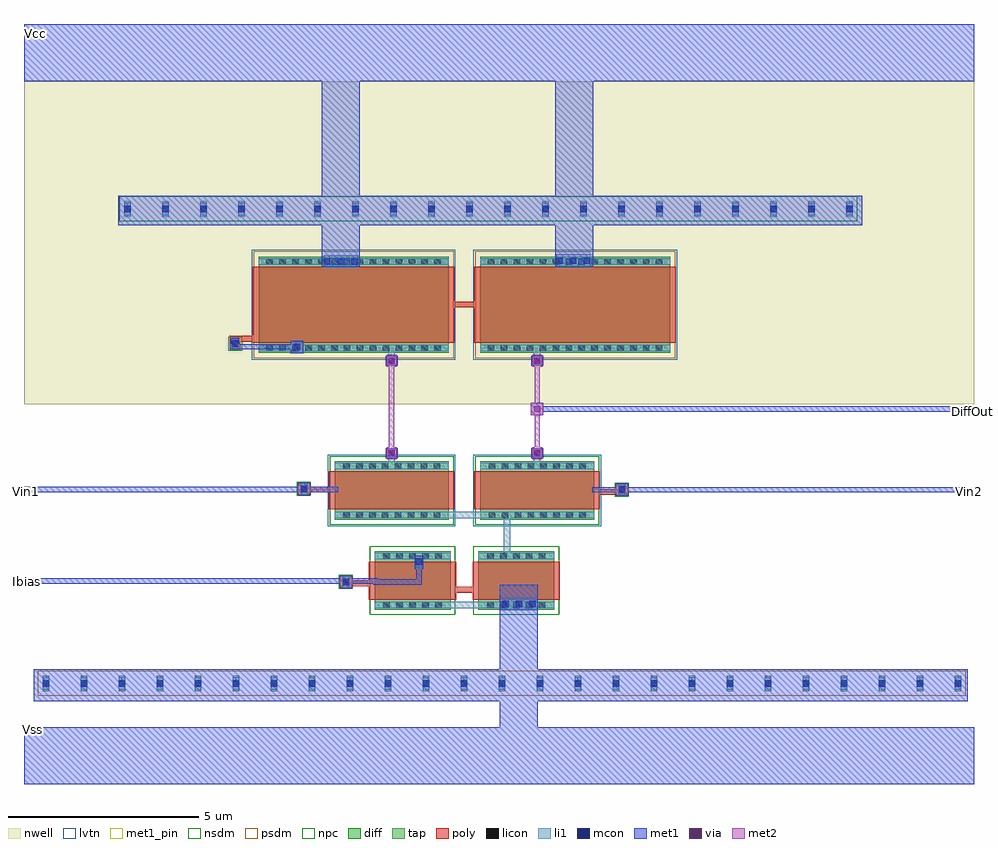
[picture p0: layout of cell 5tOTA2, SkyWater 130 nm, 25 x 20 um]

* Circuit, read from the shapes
.subckt 5tOTA2 DiffOut Ibias Vcc Vin1 Vin2 Vss
XM1 n1 Vin1 n2 Vss sky130_fd_pr__nfet_01v8_lvt w=3 l=1
XM2 Ibias Ibias Vss Vss sky130_fd_pr__nfet_01v8 w=2 l=1
XM3 n2 Ibias Vss Vss sky130_fd_pr__nfet_01v8 w=2 l=1
XM4 DiffOut Vin2 n2 Vss sky130_fd_pr__nfet_01v8_lvt w=3 l=1
XM5 Vcc n1 n1 Vcc sky130_fd_pr__pfet_01v8_lvt w=5 l=2
XM6 Vcc n1 DiffOut Vcc sky130_fd_pr__pfet_01v8_lvt w=5 l=2
.ends

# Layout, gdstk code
from math import pi, radians
import gdstk
lib = gdstk.Library(unit=1e-6, precision=1e-09)
def R(c, l, rs):  # rectangles x0, y0, x1, y1
    for r in rs: c.add(gdstk.rectangle(r[:2], r[2:], *l))
def A(c, l, x, y, w, h, nx, ny, dx, dy):  # array of equal rectangles
    R(c, l, [(x+i*dx, y+j*dy, x+i*dx+w, y+j*dy+h) for i in range(nx) for j in range(ny)])
nwell = (64, 20)
diff = (65, 20)
tap = (65, 44)
poly = (66, 20)
licon = (66, 44)
li1 = (67, 20)
mcon = (67, 44)
met1_pin = (68, 16)
met1 = (68, 20)
via = (68, 44)
met2 = (69, 20)
nsdm = (93, 44)
psdm = (94, 20)
npc = (95, 20)
lvtn = (125, 44)

pfet_01v8_lvt_cdns_77827 = lib.new_cell('pfet_01v8_lvt_CDNS_778274128802')
R(pfet_01v8_lvt_cdns_77827, nwell, [(-0.445,-0.18,2.445,5.18)])
R(pfet_01v8_lvt_cdns_77827, diff, [(-0.265,0,0,5), (0,0,2,5), (2,0,2.265,5)])
R(pfet_01v8_lvt_cdns_77827, poly, [(0,-0.15,2,-0.095), (0,-0.095,2,0), (0,0,2,5), (0,5,2,5.095), (0,5.095,2,5.15)])
A(pfet_01v8_lvt_cdns_77827, licon, -0.225, 0.205, 0.17, 0.17, 1, 14, 0, 0.34)
A(pfet_01v8_lvt_cdns_77827, licon, 2.055, 0.205, 0.17, 0.17, 1, 14, 0, 0.34)
R(pfet_01v8_lvt_cdns_77827, li1, [(-0.225,0,-0.055,5), (2.055,0,2.225,5)])
R(pfet_01v8_lvt_cdns_77827, psdm, [(-0.405,-0.13,2.405,5.13)])
R(pfet_01v8_lvt_cdns_77827, lvtn, [(-0.445,-0.18,2.445,5.18)])

nfet_01v8_lvt_cdns_77827 = lib.new_cell('nfet_01v8_lvt_CDNS_778274128803')
R(nfet_01v8_lvt_cdns_77827, diff, [(-0.265,0,0,3), (0,0,1,3), (1,0,1.265,3)])
R(nfet_01v8_lvt_cdns_77827, poly, [(0,-0.15,1,-0.095), (0,-0.095,1,0), (0,0,1,3), (0,3,1,3.095), (0,3.095,1,3.15)])
A(nfet_01v8_lvt_cdns_77827, licon, -0.225, 0.225, 0.17, 0.17, 1, 8, 0, 0.34)
A(nfet_01v8_lvt_cdns_77827, licon, 1.055, 0.225, 0.17, 0.17, 1, 8, 0, 0.34)
R(nfet_01v8_lvt_cdns_77827, li1, [(-0.225,0,-0.055,3), (1.055,0,1.225,3)])
R(nfet_01v8_lvt_cdns_77827, nsdm, [(-0.405,-0.13,1.405,3.13)])
R(nfet_01v8_lvt_cdns_77827, lvtn, [(-0.445,-0.18,1.445,3.18)])

nfet_01v8_cdns_778274128 = lib.new_cell('nfet_01v8_CDNS_778274128804')
R(nfet_01v8_cdns_778274128, diff, [(-0.265,0,0,2), (0,0,1,2), (1,0,1.265,2)])
R(nfet_01v8_cdns_778274128, poly, [(0,-0.15,1,-0.095), (0,-0.095,1,0), (0,0,1,2), (0,2,1,2.095), (0,2.095,1,2.15)])
A(nfet_01v8_cdns_778274128, licon, -0.225, 0.235, 0.17, 0.17, 1, 5, 0, 0.34)
A(nfet_01v8_cdns_778274128, licon, 1.055, 0.235, 0.17, 0.17, 1, 5, 0, 0.34)
R(nfet_01v8_cdns_778274128, li1, [(-0.225,0,-0.055,2), (1.055,0,1.225,2)])
R(nfet_01v8_cdns_778274128, nsdm, [(-0.405,-0.13,1.405,2.13)])

subtap_cdns_778274128805 = lib.new_cell('subTap_CDNS_778274128805')
R(subtap_cdns_778274128805, tap, [(-0.085,-0.205,0.085,0.205)])
R(subtap_cdns_778274128805, licon, [(-0.085,-0.085,0.085,0.085)])
R(subtap_cdns_778274128805, li1, [(-0.085,-0.165,0.085,0.165)])
R(subtap_cdns_778274128805, mcon, [(-0.085,-0.085,0.085,0.085)])
R(subtap_cdns_778274128805, met1, [(-0.115,-0.145,0.115,0.145)])
R(subtap_cdns_778274128805, psdm, [(-0.21,-0.33,0.21,0.33)])

nwelltap_cdns_7782741288 = lib.new_cell('nwellTap_CDNS_778274128806')
R(nwelltap_cdns_7782741288, nwell, [(-0.265,-0.385,0.265,0.385)])
R(nwelltap_cdns_7782741288, tap, [(-0.085,-0.205,0.085,0.205)])
R(nwelltap_cdns_7782741288, licon, [(-0.085,-0.085,0.085,0.085)])
R(nwelltap_cdns_7782741288, li1, [(-0.085,-0.165,0.085,0.165)])
R(nwelltap_cdns_7782741288, mcon, [(-0.085,-0.085,0.085,0.085)])
R(nwelltap_cdns_7782741288, met1, [(-0.115,-0.145,0.115,0.145)])
R(nwelltap_cdns_7782741288, nsdm, [(-0.21,-0.33,0.21,0.33)])

l1m1_c_cdns_778274128809 = lib.new_cell('L1M1_C_CDNS_778274128809')
R(l1m1_c_cdns_778274128809, li1, [(-0.085,-0.085,0.085,0.085)])
R(l1m1_c_cdns_778274128809, mcon, [(-0.085,-0.085,0.085,0.085)])
R(l1m1_c_cdns_778274128809, met1, [(-0.145,-0.115,0.145,0.115)])

m1m2_c_cdns_778274128801 = lib.new_cell('M1M2_C_CDNS_7782741288010')
R(m1m2_c_cdns_778274128801, met1, [(-0.16,-0.13,0.16,0.13)])
R(m1m2_c_cdns_778274128801, via, [(-0.075,-0.075,0.075,0.075)])
R(m1m2_c_cdns_778274128801, met2, [(-0.13,-0.16,0.13,0.16)])

l1m1_c_cdns_778274128801 = lib.new_cell('L1M1_C_CDNS_7782741288011')
R(l1m1_c_cdns_778274128801, li1, [(-0.5,-0.165,0.5,0.165)])
A(l1m1_c_cdns_778274128801, mcon, -0.445, -0.085, 0.17, 0.17, 3, 1, 0.36, 0)
R(l1m1_c_cdns_778274128801, met1, [(-0.5,-0.165,0.5,0.165)])

c_l1m1_c_cdns_778274128801 = lib.new_cell('L1M1_C_CDNS_7782741288012')
R(c_l1m1_c_cdns_778274128801, li1, [(-0.445,-0.165,0.445,0.165)])
A(c_l1m1_c_cdns_778274128801, mcon, -0.445, -0.085, 0.17, 0.17, 3, 1, 0.36, 0)
R(c_l1m1_c_cdns_778274128801, met1, [(-0.475,-0.145,0.475,0.145)])

c_l1m1_c_cdns_778274128801_ = lib.new_cell('L1M1_C_CDNS_7782741288013')
R(c_l1m1_c_cdns_778274128801_, li1, [(-0.165,-0.165,0.165,0.165)])
R(c_l1m1_c_cdns_778274128801_, mcon, [(-0.085,-0.085,0.085,0.085)])
R(c_l1m1_c_cdns_778274128801_, met1, [(-0.165,-0.165,0.165,0.165)])

polyconn_cdns_7782741288 = lib.new_cell('polyConn_CDNS_778274128800')
R(polyconn_cdns_7782741288, poly, [(-0.165,-0.165,0.165,0.165)])
R(polyconn_cdns_7782741288, licon, [(-0.085,-0.085,0.085,0.085)])
R(polyconn_cdns_7782741288, li1, [(-0.085,-0.165,0.085,0.165)])
R(polyconn_cdns_7782741288, mcon, [(-0.085,-0.085,0.085,0.085)])
R(polyconn_cdns_7782741288, met1, [(-0.165,-0.165,0.165,0.165)])
R(polyconn_cdns_7782741288, npc, [(-0.185,-0.185,0.185,0.185)])

c_m1m2_c_cdns_778274128801 = lib.new_cell('M1M2_C_CDNS_7782741288014')
R(c_m1m2_c_cdns_778274128801, met1, [(-0.165,-0.165,0.165,0.165)])
R(c_m1m2_c_cdns_778274128801, via, [(-0.075,-0.075,0.075,0.075)])
R(c_m1m2_c_cdns_778274128801, met2, [(-0.165,-0.165,0.165,0.165)])

c_l1m1_c_cdns_778274128801__ = lib.new_cell('L1M1_C_CDNS_7782741288015')
R(c_l1m1_c_cdns_778274128801__, li1, [(-0.085,-0.165,0.085,0.165)])
R(c_l1m1_c_cdns_778274128801__, mcon, [(-0.085,-0.085,0.085,0.085)])
R(c_l1m1_c_cdns_778274128801__, met1, [(-0.115,-0.145,0.115,0.145)])

c_polyconn_cdns_7782741288 = lib.new_cell('polyConn_CDNS_778274128801')
R(c_polyconn_cdns_7782741288, poly, [(-0.135,-0.165,0.135,0.165)])
R(c_polyconn_cdns_7782741288, licon, [(-0.085,-0.085,0.085,0.085)])
R(c_polyconn_cdns_7782741288, li1, [(-0.085,-0.165,0.085,0.165)])
R(c_polyconn_cdns_7782741288, mcon, [(-0.085,-0.085,0.085,0.085)])
R(c_polyconn_cdns_7782741288, met1, [(-0.115,-0.145,0.115,0.145)])
R(c_polyconn_cdns_7782741288, npc, [(-0.185,-0.185,0.185,0.185)])

c_5tota2 = lib.new_cell('5tOTA2')
R(c_5tota2, nwell, [(-0.05,10.025,24.95,18.525)])
R(c_5tota2, met1_pin, [(0.14,1.385,0.28,1.525), (-0.05,5.3,0.09,5.44), (24.75,7.7,24.89,7.84), (-0.05,7.705,0.09,7.845), (24.81,9.82,24.95,9.96), (0.14,19.74,0.28,19.88)])
R(c_5tota2, met1, [(-0.05,0.025,24.95,1.525), (0.21,2.2,24.785,3.045), (2.425,14.725,22.005,15.51), (-0.05,18.525,24.95,20.025)])
R(c_5tota2, nsdm, [(2.46,14.83,21.88,15.49)])
R(c_5tota2, psdm, [(0.315,2.345,24.735,3.005)])
c_5tota2.add(gdstk.FlexPath([(7.71,7.775),(7.71,7.79)], 0.15, ends=(0.075, 0), simple_path=True, layer=66, datatype=20))  # poly
c_5tota2.add(gdstk.FlexPath([(8,7.775),(7.71,7.775)], 0.15, ends=(0.077, 0.075), simple_path=True, layer=66, datatype=20))  # poly
c_5tota2.add(gdstk.FlexPath([(9.05,5.31),(8.42,5.31)], 0.15, ends=(0.077, 0.075), simple_path=True, layer=66, datatype=20))  # poly
c_5tota2.add(gdstk.FlexPath([(8.42,5.31),(8.42,5.345)], 0.15, ends=(0.075, 0), simple_path=True, layer=66, datatype=20))  # poly
c_5tota2.add(gdstk.FlexPath([(7.315,7.775),(7.315,7.79)], 0.15, ends=(0.075, 0), simple_path=True, layer=66, datatype=20))  # poly
c_5tota2.add(gdstk.FlexPath([(7.71,7.775),(7.315,7.775)], 0.15, ends="extended", simple_path=True, layer=66, datatype=20))  # poly
c_5tota2.add(gdstk.FlexPath([(15.075,7.71),(15.685,7.71)], 0.15, ends=(0.073, 0.075), simple_path=True, layer=66, datatype=20))  # poly
c_5tota2.add(gdstk.FlexPath([(15.685,7.71),(15.685,7.77)], 0.15, ends=(0.075, 0), simple_path=True, layer=66, datatype=20))  # poly
c_5tota2.add(gdstk.FlexPath([(6,11.74),(5.365,11.74)], 0.15, ends=(0.077, 0), simple_path=True, layer=66, datatype=20))  # poly
c_5tota2.add(gdstk.FlexPath([(11.27,5.135),(11.81,5.135)], 0.15, ends="flush", simple_path=True, layer=66, datatype=20))  # poly
c_5tota2.add(gdstk.FlexPath([(11.86,12.64),(11.22,12.64)], 0.15, ends="flush", simple_path=True, layer=66, datatype=20))  # poly
c_5tota2.add(gdstk.FlexPath([(11.99,4.74),(11.99,4.825)], 0.17, ends=(0.085, 0), simple_path=True, layer=67, datatype=20))  # li1
c_5tota2.add(gdstk.FlexPath([(11.175,4.74),(11.99,4.74)], 0.17, ends=(0, 0.085), simple_path=True, layer=67, datatype=20))  # li1
c_5tota2.add(gdstk.FlexPath([(12.665,7.11),(12.665,5.935)], 0.17, ends=(0.085, 0), simple_path=True, layer=67, datatype=20))  # li1
c_5tota2.add(gdstk.FlexPath([(13.455,11.16),(13.455,11.5)], 0.17, ends="extended", simple_path=True, layer=67, datatype=20))  # li1
c_5tota2.add(gdstk.FlexPath([(13.455,8.39),(13.455,8.73)], 0.17, ends="extended", simple_path=True, layer=67, datatype=20))  # li1
c_5tota2.add(gdstk.FlexPath([(9.625,11.16),(9.625,11.5)], 0.17, ends="extended", simple_path=True, layer=67, datatype=20))  # li1
c_5tota2.add(gdstk.FlexPath([(9.625,8.39),(9.625,8.73)], 0.17, ends="extended", simple_path=True, layer=67, datatype=20))  # li1
c_5tota2.add(gdstk.FlexPath([(14.87,7.11),(8.21,7.11)], 0.17, ends="extended", simple_path=True, layer=67, datatype=20))  # li1
c_5tota2.add(gdstk.FlexPath([(13.455,8.73),(13.455,11.16)], 0.14, ends="flush", simple_path=True, layer=69, datatype=20))  # met2
c_5tota2.add(gdstk.FlexPath([(9.625,8.73),(9.625,11.16)], 0.14, ends=(0.16, 0.16), simple_path=True, layer=69, datatype=20))  # met2
c_5tota2.add(gdstk.FlexPath([(8.29,19.53),(8.29,13.78)], 1, ends=(0, 0.145), simple_path=True, layer=68, datatype=20))  # met1
c_5tota2.add(gdstk.FlexPath([(10.345,5.34),(9.215,5.34)], 0.14, ends="extended", simple_path=True, layer=68, datatype=20))  # met1
c_5tota2.add(gdstk.FlexPath([(10.345,5.885),(10.345,5.34)], 0.14, ends=(0, 0.07), simple_path=True, layer=68, datatype=20))  # met1
c_5tota2.add(gdstk.FlexPath([(13.465,9.89),(13.465,9.85)], 0.14, ends="extended", simple_path=True, layer=68, datatype=20))  # met1
c_5tota2.add(gdstk.FlexPath([(9.215,5.37),(-0.05,5.37)], 0.14, ends=(0.07, 0), simple_path=True, layer=68, datatype=20))  # met1
c_5tota2.add(gdstk.FlexPath([(14.9,7.77),(24.89,7.77)], 0.14, ends="flush", simple_path=True, layer=68, datatype=20))  # met1
c_5tota2.add(gdstk.FlexPath([(8.215,7.775),(-0.05,7.775)], 0.14, ends="flush", simple_path=True, layer=68, datatype=20))  # met1
c_5tota2.add(gdstk.FlexPath([(24.95,9.89),(13.465,9.89)], 0.14, ends=(0, 0.07), simple_path=True, layer=68, datatype=20))  # met1
c_5tota2.add(gdstk.FlexPath([(5.43,11.53),(7.14,11.53)], 0.14, ends=(0.07, 0), simple_path=True, layer=68, datatype=20))  # met1
c_5tota2.add(gdstk.FlexPath([(10.345,5.885),(10.345,5.74)], 0.23, ends=(0, 0.07), simple_path=True, layer=68, datatype=20))  # met1
c_5tota2.add(gdstk.FlexPath([(12.975,0.06),(12.975,5.27)], 1, ends="flush", simple_path=True, layer=68, datatype=20))  # met1
c_5tota2.add(gdstk.FlexPath([(9.215,5.34),(9.215,5.37)], 0.14, ends="extended", simple_path=True, layer=68, datatype=20))  # met1
c_5tota2.add(gdstk.FlexPath([(14.43,19.53),(14.43,13.78)], 1, ends=(0, 0.145), simple_path=True, layer=68, datatype=20))  # met1
c_5tota2.add(gdstk.FlexPath([(5.43,11.565),(5.43,11.53)], 0.14, ends=(0, 0.07), simple_path=True, layer=68, datatype=20))  # met1
c_5tota2.add(gdstk.Reference(pfet_01v8_lvt_cdns_77827, (11.955,13.64), rotation=3*pi/2))
c_5tota2.add(gdstk.Reference(pfet_01v8_lvt_cdns_77827, (11.125,13.64), rotation=3*pi/2, x_reflection=True))
c_5tota2.add(gdstk.Reference(nfet_01v8_lvt_cdns_77827, (14.955,7.25), rotation=pi/2))
c_5tota2.add(gdstk.Reference(nfet_01v8_lvt_cdns_77827, (11.125,7.25), rotation=pi/2))
c_5tota2.add(gdstk.Reference(nfet_01v8_cdns_778274128, (11.175,4.88), rotation=pi/2))
c_5tota2.add(gdstk.Reference(nfet_01v8_cdns_778274128, (13.905,4.88), rotation=pi/2))
r = gdstk.Reference(subtap_cdns_778274128805, (0.525,2.675)); r.repetition = gdstk.Repetition(25, 1, v1=(1,0), v2=(0,0.66)); c_5tota2.add(r)
r = gdstk.Reference(nwelltap_cdns_7782741288, (2.67,15.16)); r.repetition = gdstk.Repetition(20, 1, v1=(1,0), v2=(0,0.77)); c_5tota2.add(r)
c_5tota2.add(gdstk.Reference(l1m1_c_cdns_778274128809, (13.455,11.16)))
c_5tota2.add(gdstk.Reference(l1m1_c_cdns_778274128809, (13.455,8.73)))
c_5tota2.add(gdstk.Reference(l1m1_c_cdns_778274128809, (9.625,11.16)))
c_5tota2.add(gdstk.Reference(l1m1_c_cdns_778274128809, (9.625,8.73)))
c_5tota2.add(gdstk.Reference(m1m2_c_cdns_778274128801, (13.455,11.16)))
c_5tota2.add(gdstk.Reference(m1m2_c_cdns_778274128801, (13.455,8.73)))
c_5tota2.add(gdstk.Reference(m1m2_c_cdns_778274128801, (9.625,11.16)))
c_5tota2.add(gdstk.Reference(m1m2_c_cdns_778274128801, (9.625,8.73)))
c_5tota2.add(gdstk.Reference(l1m1_c_cdns_778274128801, (12.975,4.76)))
c_5tota2.add(gdstk.Reference(c_l1m1_c_cdns_778274128801, (14.4,13.795)))
c_5tota2.add(gdstk.Reference(c_l1m1_c_cdns_778274128801, (8.29,13.78)))
c_5tota2.add(gdstk.Reference(c_l1m1_c_cdns_778274128801_, (7.14,11.53)))
c_5tota2.add(gdstk.Reference(polyconn_cdns_7782741288, (8.42,5.345)))
c_5tota2.add(gdstk.Reference(polyconn_cdns_7782741288, (15.685,7.77)))
c_5tota2.add(gdstk.Reference(polyconn_cdns_7782741288, (7.315,7.79)))
c_5tota2.add(gdstk.Reference(c_m1m2_c_cdns_778274128801, (13.455,9.895)))
c_5tota2.add(gdstk.Reference(c_l1m1_c_cdns_778274128801__, (10.345,5.885)))
c_5tota2.add(gdstk.Reference(c_polyconn_cdns_7782741288, (5.505,11.615)))
c_5tota2.add(gdstk.Label('Ibias', (0.02,5.355), layer=68, texttype=16))
c_5tota2.add(gdstk.Label('Vcc', (0.25,19.785), layer=68, texttype=16))
c_5tota2.add(gdstk.Label('DiffOut', (24.91,9.835), layer=68, texttype=16))
c_5tota2.add(gdstk.Label('Vin2', (24.82,7.73), layer=68, texttype=16))
c_5tota2.add(gdstk.Label('Vin1', (0.005,7.72), layer=68, texttype=16))
c_5tota2.add(gdstk.Label('Vss', (0.18,1.46), layer=68, texttype=16))

lib.write_gds('5tOTA2.gds')
